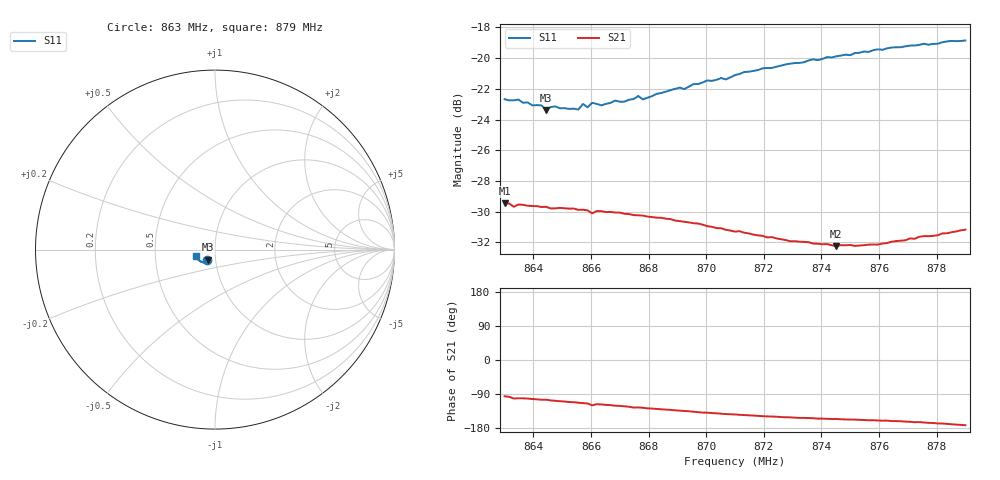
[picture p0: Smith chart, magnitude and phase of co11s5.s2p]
# HZ S RI R 50
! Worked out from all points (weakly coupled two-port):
!   101 points, 863 MHz to 879 MHz, reference 50 ohm
!   highest |S21| = -29.47 dB at 863 MHz (marker M1); lowest = -32.3 dB at 874.52 MHz (marker M2)
!   lowest |S11| = -23.4 dB at 864.44 MHz (marker M3), VSWR 1.15, Z = 46 - j5.13 ohm
!   |S11| at or under -10 dB: start of sweep to end of sweep
!   S12 and S22 are empty: the file has one direction only
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8.63e8  -0.046 -0.0574  -0.00329 -0.0335  0 0  0 0
8.6332e8  -0.0451 -0.0572  -0.00659 -0.0321  0 0  0 0
8.6348e8  -0.0462 -0.0569  -0.0064 -0.0327  0 0  0 0
8.6396e8  -0.0419 -0.0563  -0.00739 -0.0321  0 0  0 0
8.6428e8  -0.0415 -0.0565  -0.00843 -0.0316  0 0  0 0
8.6444e8  -0.0389 -0.0555  -0.00833 -0.0317  0 0  0 0
8.6476e8  -0.0403 -0.0567  -0.00982 -0.0309  0 0  0 0
8.6556e8  -0.0375 -0.0567  -0.0124 -0.0295  0 0  0 0
8.6572e8  -0.0385 -0.0595  -0.0129 -0.0293  0 0  0 0
8.6588e8  -0.038 -0.0578  -0.0133 -0.029  0 0  0 0
8.6604e8  -0.0403 -0.0591  -0.0154 -0.0271  0 0  0 0
8.6636e8  -0.0383 -0.0588  -0.0146 -0.0282  0 0  0 0
8.6684e8  -0.038 -0.062  -0.016 -0.027  0 0  0 0
8.6716e8  -0.0365 -0.0622  -0.0166 -0.0263  0 0  0 0
8.6764e8  -0.0401 -0.0637  -0.0177 -0.0251  0 0  0 0
8.678e8  -0.037 -0.0634  -0.018 -0.0248  0 0  0 0
8.6844e8  -0.0394 -0.0661  -0.0194 -0.0231  0 0  0 0
8.71e8  -0.051 -0.0717  -0.0219 -0.0161  0 0  0 0
8.7372e8  -0.0687 -0.0715  -0.0223 -0.011  0 0  0 0
8.7452e8  -0.0749 -0.0683  -0.0222 -0.0101  0 0  0 0
8.7644e8  -0.0905 -0.0596  -0.0239 -0.00812  0 0  0 0
8.79e8  -0.1077 -0.038  -0.0273 -0.00381  0 0  0 0
